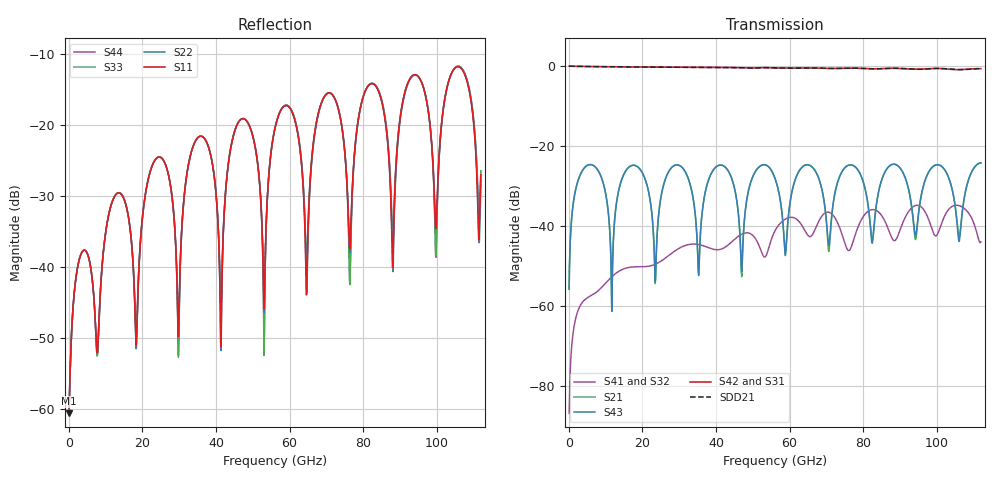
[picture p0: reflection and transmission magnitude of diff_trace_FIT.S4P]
!Generated from: diff_trace.3dem
! Port_Group1-LOSS_PAIR_40_P::LOSS_PAIR_40_P
! Port_Group2-LOSS_PAIR_40_N::LOSS_PAIR_40_N
! Port_Group3-LOSS_PAIR_40_P::LOSS_PAIR_40_P
! Port_Group4-LOSS_PAIR_40_N::LOSS_PAIR_40_N
!Clarity3DWorkbench Version: 22.1.3.05301.351635  003
!TouchstoneFormatFlag = 1
!.DiffChannels
!"Diff_Channel_LOSS_PAIR_40_P_$_LOSS_PAIR_40_N" "LOSS_PAIR_40_P" "LOSS_PAIR_40_N" "Port_Group1-LOSS_PAIR_40_P::LOSS_PAIR_40_P" "Port_Group2-LOSS_PAIR_40_N::LOSS_PAIR_40_N" "Port_Group3-LOSS_PAIR_40_P::LOSS_PAIR_40_P" "Port_Group4-LOSS_PAIR_40_N::LOSS_PAIR_40_N" "0" "1" "2" "3"
!.EndDiffChannels
! GNDNET GND
! NETSLIST LOSS_PAIR_40_N,LOSS_PAIR_40_P
#	Hz	S	RI	R	50
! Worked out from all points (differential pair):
!   1120 points, 100 MHz to 112 GHz, reference 50 ohm
!   strongest paths, dB at 100 MHz, 28.1 GHz, 56.1 GHz, 84.1 GHz, 112 GHz:
!     S42: 0.0, -0.3, -0.4, -0.6, -0.6
!     S31: 0.0, -0.3, -0.4, -0.6, -0.6
!     S43: -55.7, -25.2, -28.2, -31.9, -24.2
!     S21: -55.7, -25.2, -28.2, -31.8, -24.2
!     S41: -86.7, -46.7, -41.0, -36.4, -43.9
!     S32: -86.7, -46.6, -41.1, -36.3, -44.1
!   taken as a pair (ports 2,1 in; 4,3 out), SDD21 dB: 0.0, -0.3, -0.4, -0.7, -0.6
!   lowest |S11| = -60.6 dB at 100 MHz (marker M1), VSWR 1.00, Z = 50.1 + j0.0235 ohm
!   |S11| at or under -10 dB: start of sweep to end of sweep
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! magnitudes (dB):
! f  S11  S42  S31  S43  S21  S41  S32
! 100 MHz  -60.6  0.0  0.0  -55.7  -55.7  -86.7  -86.7
! 5.6 GHz  -39.0  -0.1  -0.1  -24.6  -24.6  -57.6  -57.6
! 35.5 GHz  -21.6  -0.3  -0.3  -47.8  -47.5  -44.6  -44.6
! 41.3 GHz  -51.2  -0.3  -0.3  -24.7  -24.7  -45.8  -45.7
! 47.1 GHz  -19.1  -0.4  -0.4  -49.7  -50.6  -41.9  -42.0
! 53.1 GHz  -45.9  -0.4  -0.4  -24.6  -24.6  -47.7  -47.7
! 112 GHz  -27.0  -0.6  -0.6  -24.2  -24.2  -43.9  -44.1
